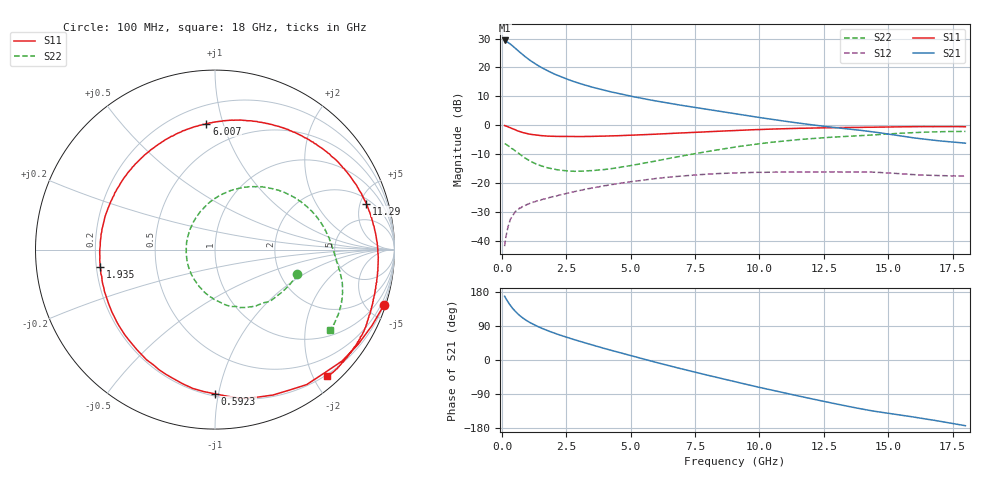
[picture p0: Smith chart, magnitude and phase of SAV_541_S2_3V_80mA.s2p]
! Data provided by Modelithics, Inc.  Tampa, Florida USA, June 2008
!Model SAV-541+
!VAR V_out= 3
!VAR I_out= 80
!VAR V_in= 0.5163
!VAR I_in= 0.9921
!BEGIN ACDATA
# GHZ S MA R 50
! Scattering Parameters
!% F n11x n11y n21x n21y n12x n12y n22x n22y
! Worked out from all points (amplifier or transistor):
!   401 points, 100 MHz to 18 GHz, reference 50 ohm
!   highest |S21| = 29.4 dB at 100 MHz (marker M1)
!   |S21| within 3 dB of that: start of sweep to 553.6 MHz
!   unconditionally stable (mu >= 1): 3.641 GHz to 10.34 GHz; 10.47823 GHz to 10.48473 GHz
!   at 3.054 GHz: K = 0.95, MSG = 18.4 dB, |S12| = -22.5 dB
!   at 9.05 GHz: K = 1.03, MAG = 9.1 dB, |S12| = -16.5 dB
!   at 18 GHz: K = 0.91, MSG = 5.7 dB, |S12| = -17.6 dB
!   lowest NFmin = 0.09 dB at 500 MHz
!   S11 on the Smith chart (normalised r, x): 100 MHz: 0.19, -6.20; 592.2 MHz: 0.22, -0.98; 1.935 GHz: 0.22, -0.07; 6.007 GHz: 0.32, +0.88; 11.29 GHz: 2.49, +5.68; 18 GHz: 0.17, -2.21
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0.1  0.9903 -18.3  29.36 168.4  0.0081 84.4  0.4781 -16.4
0.1895  0.9564 -33.6  27.71 157.9  0.0142 73.2  0.4585 -25.7
0.279  0.9199 -47.9  26.18 148.3  0.02024 66.2  0.4296 -37.6
0.3685  0.8855 -62.2  24.48 139.8  0.02538 61.5  0.3988 -48.2
0.458  0.8561 -73.7  22.63 132.7  0.02941 56.8  0.3786 -57.1
0.59225  0.8039 -89.9  20.02 123.1  0.03401 50.0  0.3365 -69.9
0.68175  0.7835 -99.0  18.53 117.6  0.03707 47.3  0.3181 -77.7
0.816  0.7471 -111.3  16.48 110.4  0.03975 44.0  0.2856 -87.6
0.95025  0.7227 -121.9  14.78 104.2  0.04218 40.9  0.2625 -96.7
1.0845  0.7002 -131.0  13.33 98.8  0.04467 39.4  0.242 -104.9
1.4425  0.6675 -150.9  10.52 86.7  0.05047 35.6  0.2049 -123.7
1.93475  0.6468 -171.6  8.083 73.3  0.05769 32.3  0.1773 -145.4
2.47175  0.6385 171.0  6.411 60.8  0.06551 28.6  0.1632 -165.9
3.09825  0.6385 153.9  5.155 47.8  0.07585 24.1  0.1606 173.3
4.396  0.6582 124.6  3.644 22.6  0.09638 12.3  0.1818 137.8
6.007  0.7037 93.9  2.626 -6.6  0.1205 -5.1  0.2433 104.3
6.0965  0.7067 92.5  2.585 -8.1  0.1213 -5.9  0.2471 102.7
9.05  0.8102 46.9  1.578 -57.2  0.1499 -40.6  0.4193 56.7
11.2875  0.8809 16.9  1.128 -91.7  0.1552 -67.2  0.5534 27.7
12.04825  0.8957 7.7  1.018 -102.7  0.155 -76.0  0.5911 18.9
15.0465  0.9344 -23.4  0.7015 -141.1  0.1495 -106.4  0.7089 -10.6
18  0.9439 -48.5  0.4903 -173.4  0.1325 -131.2  0.7844 -35.0
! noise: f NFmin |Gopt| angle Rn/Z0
0.5  0.086  0.3092  27.68  0.053
0.7  0.123  0.3133  39.97  0.046
0.9  0.159  0.3178  51.98  0.041
1  0.178  0.3202  57.88  0.038
1.9  0.342  0.346  107.9  0.027
2.4  0.433  0.3635  133.2  0.029
3  0.543  0.3876  161.3  0.039
3.9  0.707  0.4301  -161.2  0.069
5  0.908  0.4923  -123  0.132
6  1.091  0.5585  -95.52  0.215
